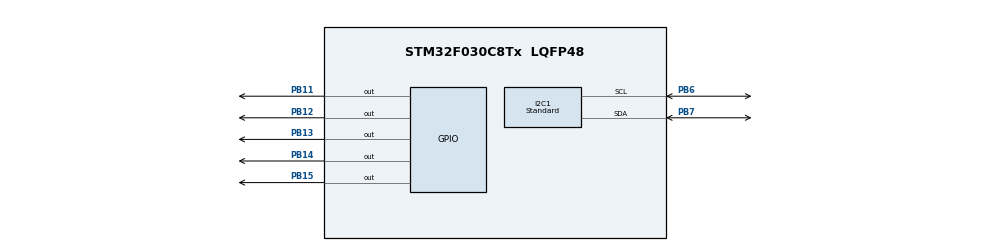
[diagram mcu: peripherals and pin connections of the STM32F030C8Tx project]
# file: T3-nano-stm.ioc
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FREERTOS.Tasks01=ledTask,0,128,StartDefaultTask,Default,NULL,Dynamic,NULL,NULL
I2C1.DualAddressMode=I2C_DUALADDRESS_DISABLE
I2C1.I2C_Speed_Mode=I2C_Standard
I2C1.OwnAddress=0x74
I2C1.Speed=100
I2C1.Timing=0x2000090E
Mcu.Family=STM32F0
Mcu.Name=STM32F030C8Tx
Mcu.Package=LQFP48
NVIC.I2C1_IRQn=true\:0\:0\:false\:false\:true\:false\:true\:true
NVIC.TIM15_IRQn=true\:0\:0\:false\:false\:true\:false\:false\:true
NVIC.TimeBase=TIM15_IRQn
NVIC.TimeBaseIP=TIM15
PB11.Signal=GPIO_Output
PB12.Signal=GPIO_Output
PB13.Signal=GPIO_Output
PB14.Signal=GPIO_Output
PB15.Signal=GPIO_Output
PB6.Mode=I2C
PB6.Signal=I2C1_SCL
PB7.Mode=I2C
PB7.Signal=I2C1_SDA
ProjectManager.HeapSize=0x200
ProjectManager.StackSize=0x400
ProjectManager.TargetToolchain=MDK-ARM V5.27
VP_FREERTOS_VS_CMSIS_V1.Mode=CMSIS_V1
VP_SYS_VS_tim15.Mode=TIM15
board=custom

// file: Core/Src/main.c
/* USER CODE BEGIN Header */
/**
  ******************************************************************************
  * @file           : main.c
  * @brief          : Main program body
  ******************************************************************************
  * @attention
  *
  * <h2><center>&copy; Copyright (c) 2021 STMicroelectronics.
  * All rights reserved.</center></h2>
  *
  * This software component is licensed by ST under BSD 3-Clause license,
  * the "License"; You may not use this file except in compliance with the
  * License. You may obtain a copy of the License at:
  *                        opensource.org/licenses/BSD-3-Clause
  *
  ******************************************************************************
  */
/* USER CODE END Header */
#include "main.h"
#include "cmsis_os.h"

/* USER CODE BEGIN PM */
#define I2C_SLAVE_LEN	4
/* USER CODE END PM */

I2C_HandleTypeDef hi2c1;

osThreadId ledTaskHandle;
/* USER CODE BEGIN PV */
uint8_t i2c_slave_data[I2C_SLAVE_LEN];
uint8_t flag_comm; // 1 -> communication is ok. 0 -> no communication
uint8_t communication_count;
uint16_t comm_lose;
/* USER CODE END PV */

void SystemClock_Config(void);
static void MX_GPIO_Init(void);
static void MX_I2C1_Init(void);
void StartDefaultTask(void const * argument);

int main(void)
{

  /* MCU Configuration--------------------------------------------------------*/

  /* Reset of all peripherals, Initializes the Flash interface and the Systick. */
  HAL_Init();

  /* Configure the system clock */
  SystemClock_Config();

  /* Initialize all configured peripherals */
  MX_GPIO_Init();
  MX_I2C1_Init();

  /* Create the thread(s) */
  /* definition and creation of ledTask */
  osThreadDef(ledTask, StartDefaultTask, osPriorityNormal, 0, 128);
  ledTaskHandle = osThreadCreate(osThread(ledTask), NULL);

  /* Start scheduler */
  osKernelStart();

  /* We should never get here as control is now taken by the scheduler */
  /* Infinite loop */
  while (1)
  {

  }
}

void SystemClock_Config(void)
{
  RCC_OscInitTypeDef RCC_OscInitStruct = {0};
  RCC_ClkInitTypeDef RCC_ClkInitStruct = {0};
  RCC_PeriphCLKInitTypeDef PeriphClkInit = {0};

  /** Initializes the RCC Oscillators according to the specified parameters
  * in the RCC_OscInitTypeDef structure.
  */
  RCC_OscInitStruct.OscillatorType = RCC_OSCILLATORTYPE_HSI;
  RCC_OscInitStruct.HSIState = RCC_HSI_ON;
  RCC_OscInitStruct.HSICalibrationValue = RCC_HSICALIBRATION_DEFAULT;
  RCC_OscInitStruct.PLL.PLLState = RCC_PLL_NONE;
  if (HAL_RCC_OscConfig(&RCC_OscInitStruct) != HAL_OK)
  {
    Error_Handler();
  }
  /** Initializes the CPU, AHB and APB buses clocks
  */
  RCC_ClkInitStruct.ClockType = RCC_CLOCKTYPE_HCLK|RCC_CLOCKTYPE_SYSCLK
                              |RCC_CLOCKTYPE_PCLK1;
  RCC_ClkInitStruct.SYSCLKSource = RCC_SYSCLKSOURCE_HSI;
  RCC_ClkInitStruct.AHBCLKDivider = RCC_SYSCLK_DIV1;
  RCC_ClkInitStruct.APB1CLKDivider = RCC_HCLK_DIV1;

  if (HAL_RCC_ClockConfig(&RCC_ClkInitStruct, FLASH_LATENCY_0) != HAL_OK)
  {
    Error_Handler();
  }
  PeriphClkInit.PeriphClockSelection = RCC_PERIPHCLK_I2C1;
  PeriphClkInit.I2c1ClockSelection = RCC_I2C1CLKSOURCE_HSI;
  if (HAL_RCCEx_PeriphCLKConfig(&PeriphClkInit) != HAL_OK)
  {
    Error_Handler();
  }
}

static void MX_I2C1_Init(void)
{

  hi2c1.Instance = I2C1;
  hi2c1.Init.Timing = 0x2000090E;
  hi2c1.Init.OwnAddress1 = 232;
  hi2c1.Init.AddressingMode = I2C_ADDRESSINGMODE_7BIT;
  hi2c1.Init.DualAddressMode = I2C_DUALADDRESS_DISABLE;
  hi2c1.Init.OwnAddress2 = 0;
  hi2c1.Init.OwnAddress2Masks = I2C_OA2_NOMASK;
  hi2c1.Init.GeneralCallMode = I2C_GENERALCALL_DISABLE;
  hi2c1.Init.NoStretchMode = I2C_NOSTRETCH_DISABLE;
  if (HAL_I2C_Init(&hi2c1) != HAL_OK)
  {
    Error_Handler();
  }
  /** Configure Analogue filter
  */
  if (HAL_I2CEx_ConfigAnalogFilter(&hi2c1, I2C_ANALOGFILTER_ENABLE) != HAL_OK)
  {
    Error_Handler();
  }
  /** Configure Digital filter
  */
  if (HAL_I2CEx_ConfigDigitalFilter(&hi2c1, 0) != HAL_OK)
  {
    Error_Handler();
  }
  /* USER CODE BEGIN I2C1_Init 2 */
	HAL_I2C_Slave_Receive_IT(&hi2c1, i2c_slave_data, I2C_SLAVE_LEN);
  /* USER CODE END I2C1_Init 2 */

}
void clear_comm_count(void)
{
	flag_comm = 1;
	communication_count = 0;
}
static void MX_GPIO_Init(void)
{
  GPIO_InitTypeDef GPIO_InitStruct = {0};

  /* GPIO Ports Clock Enable */
  __HAL_RCC_GPIOB_CLK_ENABLE();

  /*Configure GPIO pin Output Level */
  HAL_GPIO_WritePin(GPIOB, GPIO_PIN_11|GPIO_PIN_12|GPIO_PIN_13|GPIO_PIN_14
                          |GPIO_PIN_15, GPIO_PIN_SET);

  /*Configure GPIO pins : PB11 PB12 PB13 PB14
                           PB15 */
  GPIO_InitStruct.Pin = GPIO_PIN_11|GPIO_PIN_12|GPIO_PIN_13|GPIO_PIN_14
                          |GPIO_PIN_15;
  GPIO_InitStruct.Mode = GPIO_MODE_OUTPUT_PP;
  GPIO_InitStruct.Pull = GPIO_NOPULL;
  GPIO_InitStruct.Speed = GPIO_SPEED_FREQ_LOW;
  HAL_GPIO_Init(GPIOB, &GPIO_InitStruct);

}

/* USER CODE BEGIN 4 */
void HAL_I2C_SlaveTxCpltCallback(I2C_HandleTypeDef *i2cHandle)
{
	HAL_I2C_Slave_Receive_IT(i2cHandle, i2c_slave_data, I2C_SLAVE_LEN);
}

void HAL_I2C_SlaveRxCpltCallback(I2C_HandleTypeDef *i2cHandle)
{
	clear_comm_count();
	HAL_I2C_Slave_Receive_IT(i2cHandle, i2c_slave_data, I2C_SLAVE_LEN);
}
/* USER CODE END 4 */

void StartDefaultTask(void const * argument)
{
	uint8_t count1,count2;
  /* USER CODE BEGIN 5 */
  /* Infinite loop */
	flag_comm = 0;
	communication_count = 0;
  for(;;)
  {
		if(flag_comm == 1)
		{
			communication_count++;
			if(communication_count >= 200)
			{
				flag_comm = 0;
				communication_count = 0;
			}

			if(i2c_slave_data[0] == 0x55)
			{ // main app

				if(count1++ % 5 == 0)
					HAL_GPIO_TogglePin(GPIOB, GPIO_PIN_15);

				comm_lose = 0;
				if(i2c_slave_data[1] & 0x01)
					HAL_GPIO_TogglePin(GPIOB, GPIO_PIN_11);
				else
					HAL_GPIO_WritePin(GPIOB, GPIO_PIN_11,1);

				if(i2c_slave_data[1] & 0x02)
					HAL_GPIO_TogglePin(GPIOB, GPIO_PIN_12);
				else
					HAL_GPIO_WritePin(GPIOB, GPIO_PIN_12,1);

				if(i2c_slave_data[1] & 0x04)
					HAL_GPIO_TogglePin(GPIOB, GPIO_PIN_13);
				else
					HAL_GPIO_WritePin(GPIOB, GPIO_PIN_13,1);

				if(i2c_slave_data[1] & 0x08)
					HAL_GPIO_TogglePin(GPIOB, GPIO_PIN_14);
				else
					HAL_GPIO_WritePin(GPIOB, GPIO_PIN_14,1);
			}
			else if(i2c_slave_data[0] == 0x30)
			{ // bootloader
				count2++;
				switch(count2)
				{
					case 0:HAL_GPIO_WritePin(GPIOB, GPIO_PIN_15,1);
					case 2:HAL_GPIO_WritePin(GPIOB, GPIO_PIN_15,0);
					case 4:HAL_GPIO_WritePin(GPIOB, GPIO_PIN_15,0);
					case 6:HAL_GPIO_WritePin(GPIOB, GPIO_PIN_15,0);
					case 10:
						count2 = 0;
					default:
						break;
				}

				comm_lose = 0;
				if(i2c_slave_data[1] & 0x01)
					HAL_GPIO_TogglePin(GPIOB, GPIO_PIN_11);
				else
					HAL_GPIO_WritePin(GPIOB, GPIO_PIN_11,1);

				if(i2c_slave_data[1] & 0x02)
					HAL_GPIO_TogglePin(GPIOB, GPIO_PIN_12);
				else
					HAL_GPIO_WritePin(GPIOB, GPIO_PIN_12,1);

				if(i2c_slave_data[1] & 0x04)
					HAL_GPIO_TogglePin(GPIOB, GPIO_PIN_13);
				else
					HAL_GPIO_WritePin(GPIOB, GPIO_PIN_13,1);

				if(i2c_slave_data[1] & 0x08)
					HAL_GPIO_TogglePin(GPIOB, GPIO_PIN_14);
				else
					HAL_GPIO_WritePin(GPIOB, GPIO_PIN_14,1);
			}
			else
			{
				 HAL_GPIO_WritePin(GPIOB, GPIO_PIN_11|GPIO_PIN_12|GPIO_PIN_13|GPIO_PIN_14
            |GPIO_PIN_15, GPIO_PIN_SET);
				comm_lose++;
				if(comm_lose >= 3)
				{
					// reboot
					comm_lose = 0;
					MX_GPIO_Init();
					MX_I2C1_Init();
				}
			}

		}
		else
		{
			 HAL_GPIO_WritePin(GPIOB, GPIO_PIN_11|GPIO_PIN_12|GPIO_PIN_13|GPIO_PIN_14
            |GPIO_PIN_15, GPIO_PIN_SET);
			i2c_slave_data[0] = 0;
			i2c_slave_data[1] = 0;
			i2c_slave_data[2] = 0;
			i2c_slave_data[3] = 0;
		}

    osDelay(100);
  }
  /* USER CODE END 5 */
}

void HAL_TIM_PeriodElapsedCallback(TIM_HandleTypeDef *htim)
{
  if (htim->Instance == TIM15) {
    HAL_IncTick();
  }
}

void Error_Handler(void)
{
}

/************************ (C) COPYRIGHT STMicroelectronics *****END OF FILE****/
